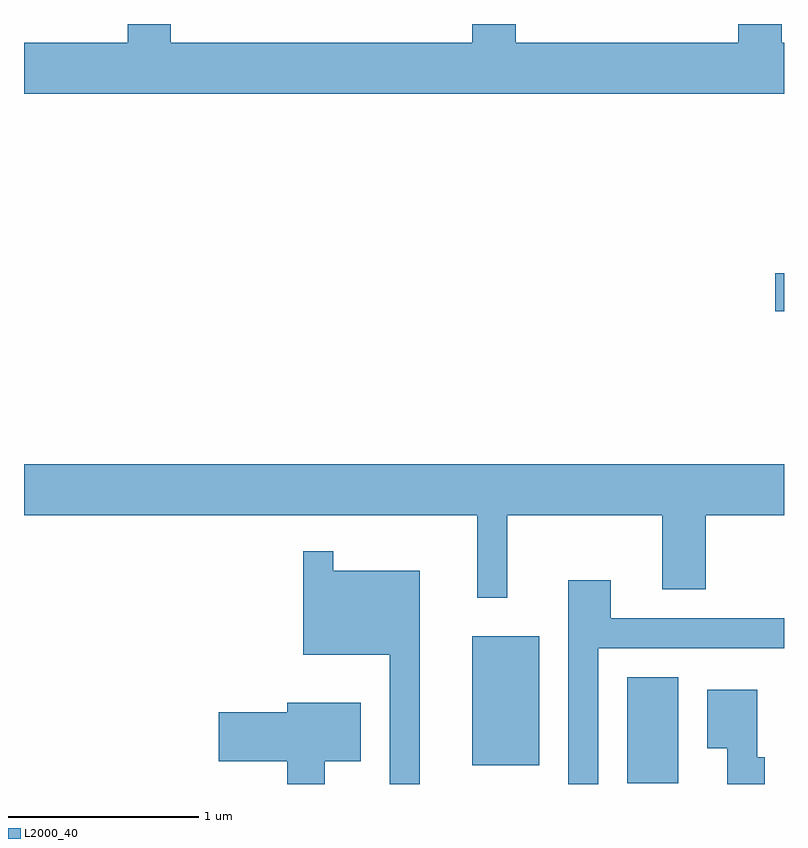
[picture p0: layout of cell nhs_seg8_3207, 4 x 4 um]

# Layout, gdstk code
import gdstk
lib = gdstk.Library(unit=1e-6, precision=1e-09)
def R(c, l, rs):  # rectangles x0, y0, x1, y1
    for r in rs: c.add(gdstk.rectangle(r[:2], r[2:], *l))
def P(c, l, *ps):  # polygons
    for p in ps: c.add(gdstk.Polygon(p, *l))
L2000_40 = (2000, 40)

nhs_seg8_3207 = lib.new_cell('nhs_seg8_3207')
R(nhs_seg8_3207, L2000_40, [(284.786,1828.346,285.054,1828.904), (283.971,1828.441,284.324,1829.119), (285.566,1830.831,285.611,1831.029)])
P(nhs_seg8_3207, L2000_40, [(285.611,1832.244),(285.599,1832.244),(285.599,1832.342),(285.371,1832.342),(285.371,1832.244),(284.199,1832.244),(284.199,1832.342),(283.971,1832.342),(283.971,1832.244),(282.384,1832.244),(282.384,1832.342),(282.156,1832.342),(282.156,1832.244),(281.611,1832.244),(281.611,1831.976),(285.611,1831.976)],
  [(284.154,1829.756),(284.971,1829.756),(284.971,1829.366),(285.199,1829.366),(285.199,1829.756),(285.611,1829.756),(285.611,1830.024),(281.611,1830.024),(281.611,1829.756),(283.996,1829.756),(283.996,1829.323),(284.154,1829.323)],
  [(283.694,1829.464),(283.239,1829.464),(283.239,1829.568),(283.081,1829.568),(283.081,1829.021),(283.536,1829.021),(283.536,1828.342),(283.694,1828.342)],
  [(284.634,1829.056),(285.611,1829.056),(285.611,1829.214),(284.699,1829.214),(284.699,1829.414),(284.476,1829.414),(284.476,1828.342),(284.634,1828.342)],
  [(285.509,1828.484),(285.469,1828.484),(285.469,1828.839),(285.206,1828.839),(285.206,1828.531),(285.311,1828.531),(285.311,1828.342),(285.509,1828.342)],
  [(283.194,1828.461),(283.384,1828.461),(283.384,1828.769),(282.996,1828.769),(282.996,1828.719),(282.636,1828.719),(282.636,1828.461),(282.996,1828.461),(282.996,1828.342),(283.194,1828.342)])

lib.write_gds('nhs_seg8_3207.gds')
